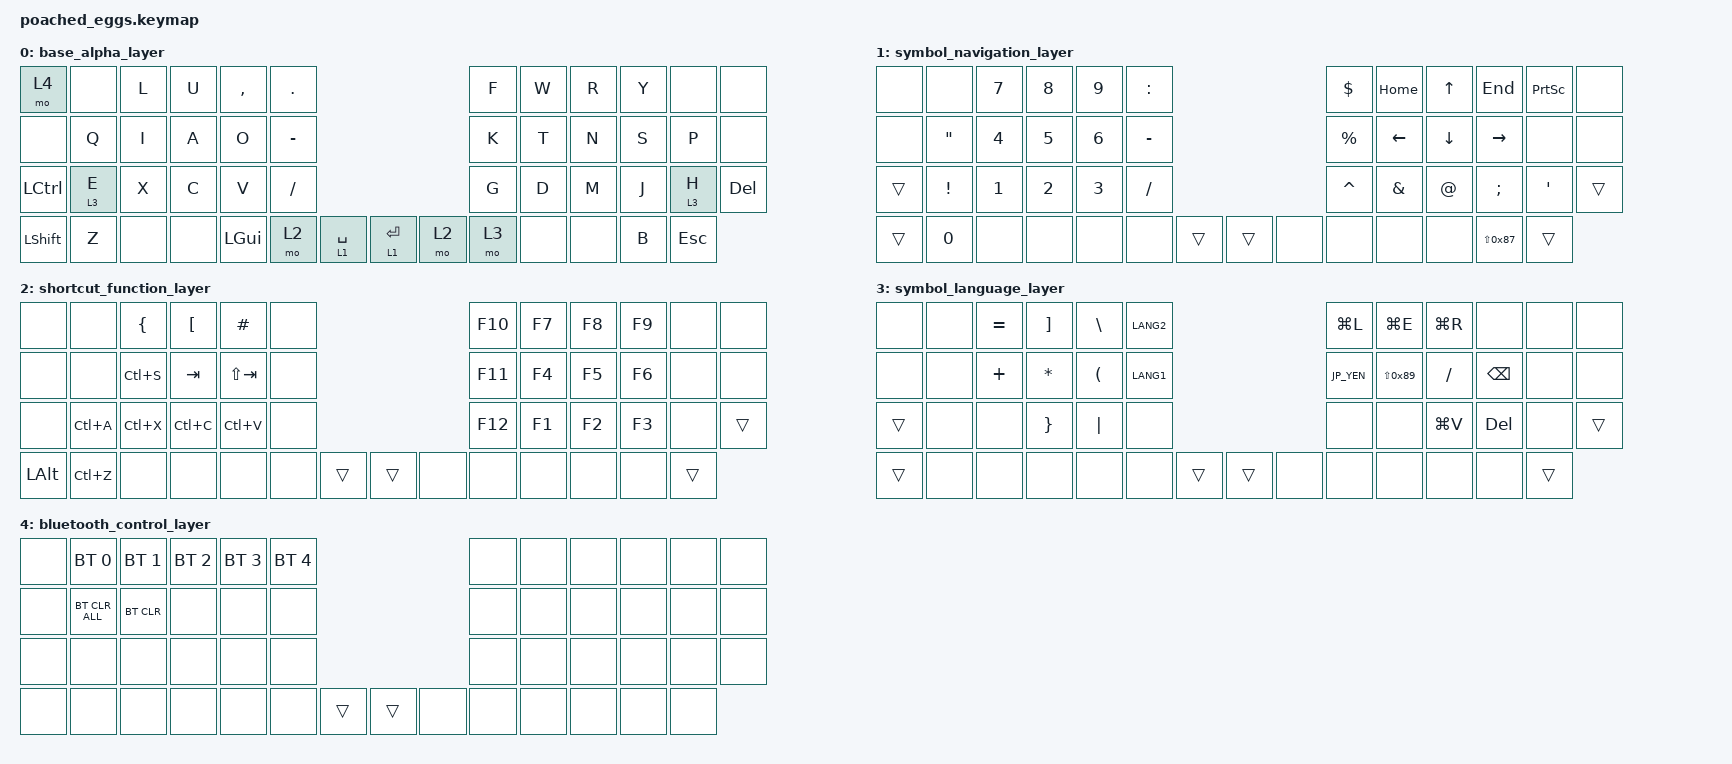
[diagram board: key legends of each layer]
#include <behaviors.dtsi>
#include <dt-bindings/zmk/bt.h>
#include <dt-bindings/zmk/keys.h>

// Symbol remaps for Japanese Windows while keeping the OS keyboard layout on JIS.

#define JP_DQUOTE      AT                // "
#define JP_AMPERSAND   CARET             // &
#define JP_QUOTE       AMPERSAND         // '
#define JP_EQUAL       UNDER             // =
#define JP_CARET       EQUAL             // ^
#define JP_YEN         0x89              // Yen / backslash
#define JP_PLUS        COLON             // +
#define JP_TILDE       PLUS              // ~
#define JP_PIPE        LS(0x89)          // |
#define JP_AT          LEFT_BRACKET      // @
#define JP_COLON       SINGLE_QUOTE      // :
#define JP_ASTERISK    DOUBLE_QUOTES     // *
#define JP_BACKQUOTE   LEFT_BRACE        // `
#define JP_UNDERSCORE  LS(0x87)          // _
#define JP_LBRACKET    RIGHT_BRACKET     // [
#define JP_RBRACKET    BACKSLASH         // ]
#define JP_LPAREN      ASTERISK          // (
#define JP_RPAREN      LEFT_PARENTHESIS  // )
#define JP_LBRACE      RIGHT_BRACE       // {
#define JP_RBRACE      PIPE              // }

/ {
    keymap {
        compatible = "zmk,keymap";

        base_alpha_layer {
            bindings = <
&mo 4      &none    &kp L  &kp U  &kp COMMA  &kp DOT                            &kp F  &kp W            &kp R  &kp Y  &none    &none
&none      &kp Q    &kp I  &kp A  &kp O      &kp MINUS                          &kp K  &kp T            &kp N  &kp S  &kp P    &none
&kp LCTRL  &lt 3 E  &kp X  &kp C  &kp V      &kp FSLH                           &kp G  &kp D            &kp M  &kp J  &lt 3 H  &kp DEL
&kp LSHFT  &kp Z    &none  &none  &kp LGUI   &mo 2      &lt 1 SPACE  &lt 1 RET  &mo 2  &mo 3  &none  &none  &kp B    &kp ESC
            >;
        };

        symbol_navigation_layer {
            bindings = <
&none   &none   &kp N7  &kp N8  &kp N9  &kp JP_PLUS       &kp DOLLAR     &kp HOME  &kp UP    &kp END    &kp PSCRN     &none
&none   &kp JP_ASTERISK   &kp N4  &kp N5  &kp N6  &kp MINUS         &kp PERCENT    &kp LEFT  &kp DOWN  &kp RIGHT  &none         &none
&trans  &kp EXCLAMATION            &kp N1  &kp N2  &kp N3  &kp FSLH          &kp JP_AMPERSAND  &kp JP_QUOTE  &kp JP_DQUOTE  &kp SEMICOLON  &kp JP_COLON  &trans
&trans  &kp N0      &none   &none   &none   &none      &trans  &trans  &none       &none     &none     &none      &kp JP_UNDERSCORE  &trans
            >;
        };

        shortcut_function_layer {
            bindings = <
&none     &none      &kp JP_BACKQUOTE  &kp JP_AT  &kp HASH  &none             &kp F10  &kp F7  &kp F8  &kp F9  &none  &none
&none     &none      &kp LC(S)  &kp TAB    &kp LS(TAB)  &none                &kp F11  &kp F4  &kp F5  &kp F6  &none  &none
&none  &kp LC(A)  &kp LC(X)  &kp LC(C)  &kp LC(V)    &none                &kp F12  &kp F1  &kp F2  &kp F3  &none  &trans
&kp LALT     &kp LC(Z)  &none      &none      &none        &none  &trans  &trans  &none    &none   &none   &none   &none  &trans
            >;
        };

        symbol_language_layer {
            bindings = <
&none   &none  &kp JP_CARET  &kp JP_LBRACKET  &kp JP_RBRACKET  &kp LANG2           &kp LG(L)   &kp LG(E)    &kp LG(R)  &none     &none  &none
&none   &none  &kp JP_TILDE  &kp JP_LPAREN    &kp JP_RPAREN    &kp LANG1           &kp JP_YEN  &kp JP_PIPE  &kp FSLH   &kp BSPC  &none  &none
&trans  &none  &none         &kp JP_LBRACE    &kp JP_RBRACE    &none               &none       &none        &kp LG(V)  &kp DEL     &none  &trans
&trans  &none  &none      &none           &none            &none      &trans  &trans  &none       &none        &none      &none     &none  &trans
            >;
        };

        bluetooth_control_layer {
            bindings = <
&none  &bt BT_SEL 0    &bt BT_SEL 1    &bt BT_SEL 2  &bt BT_SEL 3  &bt BT_SEL 4                &none  &none  &none  &none  &none  &none
&none  &bt BT_CLR_ALL  &bt BT_CLR  &none         &none         &none                       &none  &none  &none  &none  &none  &none
&none  &none           &none           &none         &none         &none                       &none  &none  &none  &none  &none  &none
&none  &none           &none           &none         &none         &none         &trans  &trans  &none  &none  &none  &none  &none  &none
            >;
        };
    };
};
